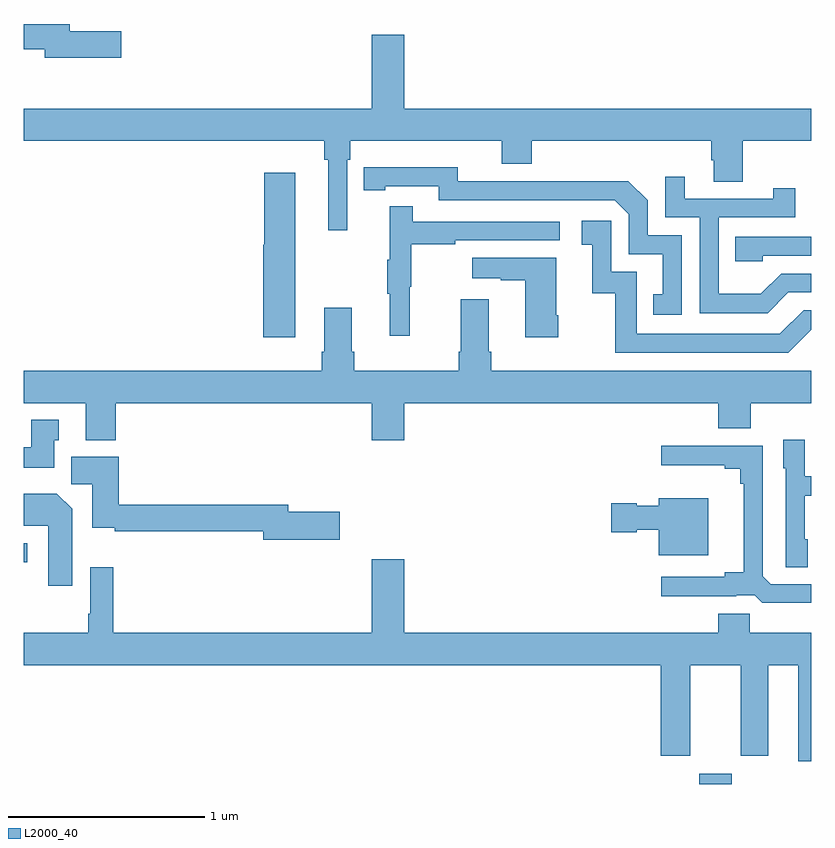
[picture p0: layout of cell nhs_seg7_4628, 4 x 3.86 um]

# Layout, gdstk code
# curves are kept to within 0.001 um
import gdstk
lib = gdstk.Library(unit=1e-6, precision=1e-09)
def R(c, l, rs):  # rectangles x0, y0, x1, y1
    for r in rs: c.add(gdstk.rectangle(r[:2], r[2:], *l))
def P(c, l, *ps):  # polygons
    for p in ps: c.add(gdstk.Polygon(p, *l))
L2000_40 = (2000, 40)

nhs_seg7_4628 = lib.new_cell('nhs_seg7_4628')
R(nhs_seg7_4628, L2000_40, [(406.433,1012,406.597,1012.051), (403,1013.127,403.018,1013.223)])
P(nhs_seg7_4628, L2000_40, [(403.495,1015.826),(403.234,1015.826),(403.234,1015.862),(403,1015.862),(403,1015.734),(403.106,1015.734),(403.106,1015.691),(403.495,1015.691)],
  [(404.643,1015.172),(404.657,1015.172),(404.657,1015.268),(405.428,1015.268),(405.428,1015.151),(405.581,1015.151),(405.581,1015.268),(406.493,1015.268),(406.493,1015.17),(406.505,1015.17),(406.505,1015.06),(406.653,1015.06),(406.653,1015.268),(407,1015.268),(407,1015.432),(404.932,1015.432),(404.932,1015.807),(404.768,1015.807),(404.768,1015.432),(403,1015.432),(403,1015.268),(404.527,1015.268),(404.527,1015.172),(404.546,1015.172),(404.546,1014.813),(404.643,1014.813)],
  [(406.344,1014.789),(406.17,1014.789),(406.17,1014.966),(406.072,1015.064),(405.664,1015.064),(405.664,1015.062),(405.204,1015.062),(405.204,1015.135),(404.728,1015.134),(404.728,1015.018),(404.836,1015.018),(404.836,1015.038),(405.108,1015.038),(405.108,1014.966),(406.002,1014.966),(406.074,1014.894),(406.074,1014.693),(406.247,1014.693),(406.247,1014.489),(406.198,1014.489),(406.198,1014.384),(406.344,1014.384)],
  [(404.38,1015.105),(404.222,1015.105),(404.222,1014.741),(404.216,1014.741),(404.216,1014.27),(404.38,1014.27)],
  [(406.885,1014.498),(407,1014.498),(407,1014.594),(406.848,1014.594),(406.744,1014.49),(406.53,1014.49),(406.53,1014.879),(406.919,1014.879),(406.919,1015.027),(406.808,1015.027),(406.808,1014.975),(406.357,1014.975),(406.357,1015.087),(406.26,1015.087),(406.26,1014.879),(406.434,1014.879),(406.434,1014.393),(406.78,1014.393)],
  [(404.96,1014.528),(404.968,1014.528),(404.968,1014.742),(405.191,1014.742),(405.191,1014.762),(405.724,1014.762),(405.724,1014.858),(404.975,1014.858),(404.975,1014.937),(404.858,1014.937),(404.858,1014.665),(404.847,1014.665),(404.847,1014.491),(404.858,1014.491),(404.858,1014.279),(404.96,1014.279)],
  [(407,1014.308),(407,1014.408),(406.962,1014.408),(406.842,1014.288),(406.113,1014.288),(406.113,1014.603),(405.984,1014.603),(405.984,1014.862),(405.834,1014.862),(405.834,1014.741),(405.887,1014.741),(405.887,1014.495),(406.005,1014.495),(406.005,1014.192),(406.884,1014.192)],
  [(406.755,1014.684),(407,1014.684),(407,1014.78),(406.615,1014.78),(406.615,1014.657),(406.755,1014.657)],
  [(405.714,1014.382),(405.706,1014.382),(405.706,1014.673),(405.279,1014.673),(405.279,1014.569),(405.422,1014.569),(405.422,1014.559),(405.548,1014.559),(405.548,1014.27),(405.714,1014.27)],
  [(403.466,1013.936),(404.768,1013.936),(404.768,1013.748),(404.932,1013.748),(404.932,1013.936),(406.529,1013.936),(406.529,1013.808),(406.693,1013.808),(406.693,1013.936),(407,1013.936),(407,1014.1),(405.374,1014.1),(405.374,1014.196),(405.361,1014.196),(405.361,1014.463),(405.221,1014.463),(405.221,1014.196),(405.209,1014.196),(405.209,1014.1),(404.678,1014.1),(404.678,1014.196),(404.665,1014.196),(404.665,1014.421),(404.525,1014.421),(404.525,1014.196),(404.513,1014.196),(404.513,1014.1),(403,1014.1),(403,1013.936),(403.313,1013.936),(403.313,1013.747),(403.466,1013.747)],
  [(403.153,1013.748),(403.177,1013.748),(403.177,1013.851),(403.037,1013.851),(403.037,1013.71),(403,1013.71),(403,1013.606),(403.153,1013.606)],
  [(406.984,1013.244),(406.968,1013.244),(406.968,1013.466),(407,1013.466),(407,1013.563),(406.968,1013.563),(406.968,1013.749),(406.859,1013.749),(406.859,1013.604),(406.872,1013.604),(406.872,1013.101),(406.984,1013.101)],
  [(407,1013.016),(406.794,1013.016),(406.755,1013.055),(406.755,1013.718),(406.239,1013.718),(406.239,1013.621),(406.562,1013.621),(406.562,1013.602),(406.639,1013.602),(406.639,1013.525),(406.658,1013.525),(406.658,1013.075),(406.562,1013.075),(406.562,1013.052),(406.239,1013.052),(406.239,1012.955),(406.619,1012.955),(406.619,1012.959),(406.713,1012.959),(406.753,1012.92),(407,1012.92)],
  [(404.605,1013.384),(404.344,1013.384),(404.344,1013.42),(403.481,1013.42),(403.481,1013.662),(403.241,1013.662),(403.241,1013.524),(403.346,1013.524),(403.346,1013.303),(403.462,1013.303),(403.462,1013.284),(404.216,1013.284),(404.216,1013.242),(404.605,1013.242)],
  [(403.246,1013.398),(403.168,1013.476),(403,1013.476),(403,1013.312),(403.124,1013.312),(403.124,1013.007),(403.246,1013.007)],
  [(406.477,1013.452),(406.226,1013.452),(406.226,1013.413),(406.113,1013.413),(406.113,1013.426),(405.984,1013.426),(405.984,1013.279),(406.113,1013.279),(406.113,1013.291),(406.226,1013.291),(406.226,1013.162),(406.477,1013.162)],
  [(407,1012.768),(406.689,1012.768),(406.689,1012.866),(406.529,1012.866),(406.529,1012.768),(404.932,1012.768),(404.932,1013.143),(404.768,1013.143),(404.768,1012.768),(403.454,1012.768),(403.454,1013.101),(403.338,1013.101),(403.338,1012.864),(403.326,1012.864),(403.326,1012.768),(403,1012.768),(403,1012.604),(406.235,1012.604),(406.235,1012.143),(406.387,1012.143),(406.387,1012.604),(406.643,1012.604),(406.643,1012.143),(406.783,1012.143),(406.783,1012.604),(406.934,1012.604),(406.934,1012.116),(407,1012.116)])

lib.write_gds('nhs_seg7_4628.gds')
